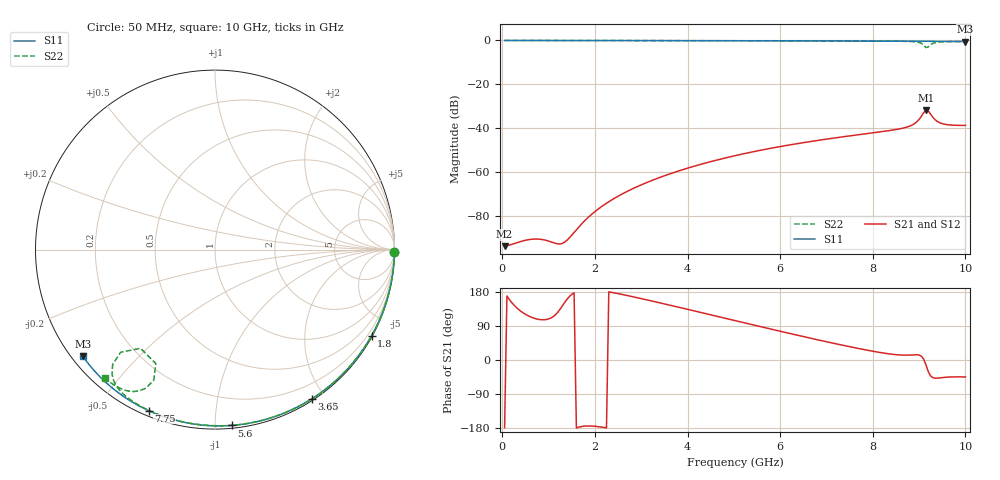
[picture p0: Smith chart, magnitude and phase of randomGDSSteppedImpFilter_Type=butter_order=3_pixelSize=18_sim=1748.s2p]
! freq	dB(S11)	phase(S11)	dB(S12)	phase(S12)
!  dB(S21)	phase(S21)	dB(S22)	phase(S22)
!S-par simulation data
#  GHz  S  DB  R 50
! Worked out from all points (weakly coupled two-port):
!   200 points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, 50 MHz to 10 GHz, reference 50 ohm
!   highest |S21| = -31.71 dB at 9.15 GHz (marker M1); lowest = -93.6 dB at 50 MHz (marker M2)
!   lowest |S11| = -0.5 dB at 10 GHz (marker M3), VSWR 35.92, Z = 1.56 - j17.6 ohm
!   |S11| at or under -10 dB: nowhere
!   |S22| runs from -3.2 to 0.0 dB; largest |S21 - S12| = 0
!   S11 on the Smith chart (normalised r, x): 50 MHz: open; 1.8 GHz: 0.03, -3.90; 3.65 GHz: 0.02, -1.84; 5.6 GHz: 0.02, -1.10; 7.75 GHz: 0.02, -0.67; 10 GHz: 0.03, -0.35
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0.05  -0.00 -0.8  -93.60 -178.3  -93.60 -178.3  -0.00 -0.8
1.75  -0.04 -28.0  -82.63 -174.8  -82.63 -174.8  -0.03 -26.6
1.8  -0.04 -28.8  -81.58 -174.3  -81.58 -174.3  -0.03 -27.3
1.9  -0.04 -30.4  -79.65 -174.1  -79.65 -174.1  -0.04 -28.8
2.25  -0.05 -35.8  -74.05 -179.1  -74.05 -179.1  -0.04 -34.0
2.65  -0.05 -41.9  -69.17 171.4  -69.17 171.4  -0.05 -39.9
3.4  -0.07 -53.2  -62.33 150.9  -62.33 150.9  -0.07 -50.6
3.65  -0.08 -56.9  -60.47 143.8  -60.47 143.8  -0.07 -54.2
5.05  -0.12 -76.9  -52.31 103.3  -52.31 103.3  -0.11 -73.3
5.6  -0.14 -84.4  -49.86 87.3  -49.86 87.3  -0.13 -80.5
6.7  -0.19 -99.0  -45.84 56.3  -45.84 56.3  -0.18 -94.6
7.75  -0.26 -112.4  -42.72 28.9  -42.72 28.9  -0.25 -107.8
8.35  -0.31 -119.9  -41.03 16.2  -41.03 16.2  -0.31 -115.8
8.85  -0.35 -126.2  -38.48 13.4  -38.48 13.4  -0.49 -124.6
9.05  -0.37 -128.7  -34.48 10.2  -34.48 10.2  -1.34 -131.7
9.1  -0.37 -129.3  -32.83 2.0  -32.83 2.0  -2.19 -132.6
9.15  -0.37 -129.9  -31.71 -13.6  -31.71 -13.6  -3.24 -127.1
9.2  -0.38 -130.6  -32.13 -31.2  -32.13 -31.2  -2.91 -117.5
9.25  -0.38 -131.2  -33.58 -42.2  -33.58 -42.2  -1.91 -115.1
9.35  -0.40 -132.5  -36.14 -48.0  -36.14 -48.0  -0.98 -118.2
9.55  -0.42 -135.1  -38.11 -45.8  -38.11 -45.8  -0.60 -123.5
10  -0.48 -141.1  -38.65 -44.7  -38.65 -44.7  -0.52 -130.8
